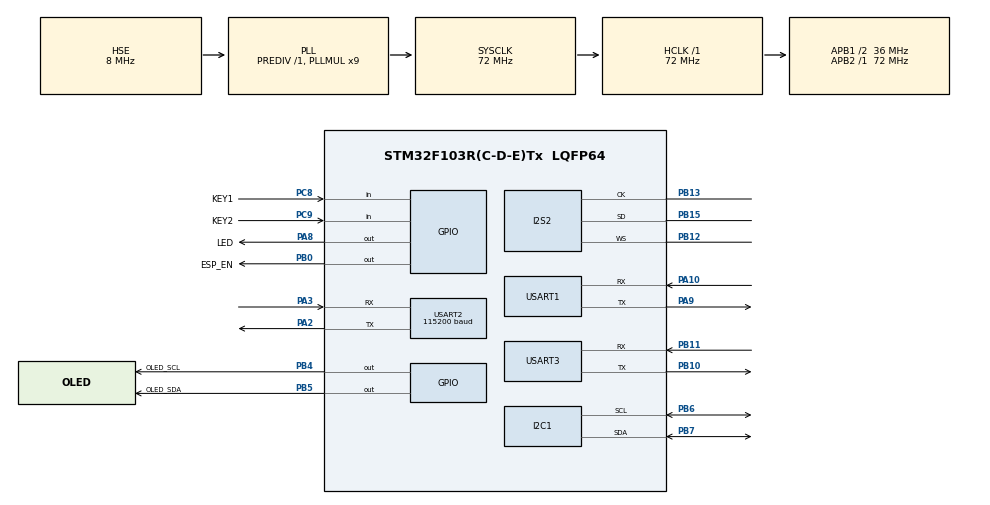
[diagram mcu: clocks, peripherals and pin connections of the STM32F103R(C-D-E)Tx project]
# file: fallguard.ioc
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Dma.Request0=SPI2_TX
Dma.SPI2_TX.0.Direction=DMA_MEMORY_TO_PERIPH
Dma.SPI2_TX.0.Instance=DMA1_Channel5
Dma.SPI2_TX.0.MemDataAlignment=DMA_MDATAALIGN_HALFWORD
Dma.SPI2_TX.0.MemInc=DMA_MINC_ENABLE
Dma.SPI2_TX.0.Mode=DMA_CIRCULAR
Dma.SPI2_TX.0.PeriphDataAlignment=DMA_PDATAALIGN_HALFWORD
Dma.SPI2_TX.0.PeriphInc=DMA_PINC_DISABLE
Dma.SPI2_TX.0.Priority=DMA_PRIORITY_HIGH
I2C1.I2C_Mode=I2C_Fast
I2S2.ErrorAudioFreq=0.08 %
I2S2.Instance=SPI$Index
I2S2.RealAudioFreq=8.007 KHz
I2S2.VirtualMode=I2S_MODE_MASTER
Mcu.Family=STM32F1
Mcu.Name=STM32F103R(C-D-E)Tx
Mcu.Package=LQFP64
NVIC.DMA1_Channel5_IRQn=true\:1\:0\:true\:false\:true\:false\:true\:true
NVIC.PriorityGroup=NVIC_PRIORITYGROUP_4
NVIC.USART1_IRQn=true\:0\:0\:false\:false\:true\:true\:true\:true
NVIC.USART2_IRQn=true\:0\:0\:false\:false\:true\:true\:true\:true
NVIC.USART3_IRQn=true\:0\:0\:false\:false\:true\:true\:true\:true
PA10.Mode=Asynchronous
PA10.Signal=USART1_RX
PA13.Mode=Serial_Wire
PA13.Signal=SYS_JTMS-SWDIO
PA14.Mode=Serial_Wire
PA14.Signal=SYS_JTCK-SWCLK
PA2.Mode=Asynchronous
PA2.Signal=USART2_TX
PA3.Mode=Asynchronous
PA3.Signal=USART2_RX
PA8.GPIO_Label=LED
PA8.PinState=GPIO_PIN_SET
PA8.Signal=GPIO_Output
PA9.Mode=Asynchronous
PA9.Signal=USART1_TX
PB0.GPIO_Label=ESP_EN
PB0.PinState=GPIO_PIN_SET
PB0.Signal=GPIO_Output
PB10.Mode=Asynchronous
PB10.Signal=USART3_TX
PB11.Mode=Asynchronous
PB11.Signal=USART3_RX
PB12.Mode=Half_Duplex_Master_TX
PB12.Signal=I2S2_WS
PB13.Mode=Half_Duplex_Master_TX
PB13.Signal=I2S2_CK
PB15.Mode=Half_Duplex_Master_TX
PB15.Signal=I2S2_SD
PB4.GPIO_Label=OLED_SCL
PB4.GPIO_ModeDefaultOutputPP=GPIO_MODE_OUTPUT_OD
PB4.GPIO_PuPd=GPIO_PULLUP
PB4.GPIO_Speed=GPIO_SPEED_FREQ_HIGH
PB4.PinState=GPIO_PIN_SET
PB4.Signal=GPIO_Output
PB5.GPIO_Label=OLED_SDA
PB5.GPIO_ModeDefaultOutputPP=GPIO_MODE_OUTPUT_OD
PB5.GPIO_PuPd=GPIO_PULLUP
PB5.GPIO_Speed=GPIO_SPEED_FREQ_HIGH
PB5.PinState=GPIO_PIN_SET
PB5.Signal=GPIO_Output
PB6.Mode=I2C
PB6.Signal=I2C1_SCL
PB7.Mode=I2C
PB7.Signal=I2C1_SDA
PC14-OSC32_IN.Mode=LSE-External-Oscillator
PC14-OSC32_IN.Signal=RCC_OSC32_IN
PC15-OSC32_OUT.Mode=LSE-External-Oscillator
PC15-OSC32_OUT.Signal=RCC_OSC32_OUT
PC8.GPIO_Label=KEY1
PC8.GPIO_PuPd=GPIO_PULLUP
PC8.Signal=GPIO_Input
PC9.GPIO_Label=KEY2
PC9.GPIO_PuPd=GPIO_PULLUP
PC9.Signal=GPIO_Input
PD0-OSC_IN.Mode=HSE-External-Oscillator
PD0-OSC_IN.Signal=RCC_OSC_IN
PD1-OSC_OUT.Mode=HSE-External-Oscillator
PD1-OSC_OUT.Signal=RCC_OSC_OUT
ProjectManager.HeapSize=0x200
ProjectManager.StackSize=0x400
ProjectManager.TargetToolchain=CMake
RCC.AHBFreq_Value=72000000
RCC.APB1CLKDivider=RCC_HCLK_DIV2
RCC.APB1Freq_Value=36000000
RCC.APB1TimFreq_Value=72000000
RCC.APB2Freq_Value=72000000
RCC.APB2TimFreq_Value=72000000
RCC.HCLKFreq_Value=72000000
RCC.PLLMUL=RCC_PLL_MUL9
RCC.PLLSourceVirtual=RCC_PLLSOURCE_HSE
RCC.RTCClockSelection=RCC_RTCCLKSOURCE_LSE
RCC.SYSCLKFreq_VALUE=72000000
RCC.SYSCLKSource=RCC_SYSCLKSOURCE_PLLCLK
RCC.USBFreq_Value=72000000
TIM2.AutoReloadPreload=TIM_AUTORELOAD_PRELOAD_ENABLE
TIM2.Prescaler=71
USART1.VirtualMode=VM_ASYNC
USART2.BaudRate=115200
USART2.VirtualMode=VM_ASYNC
USART3.VirtualMode=VM_ASYNC
VP_RTC_VS_RTC_Activate.Mode=RTC_Enabled
VP_RTC_VS_RTC_Calendar.Mode=RTC_Calendar
VP_TIM2_VS_ClockSourceINT.Mode=Internal
board=custom

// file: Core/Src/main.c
/* USER CODE BEGIN Header */
/**
  ******************************************************************************
  * @file           : main.c
  * @brief          : Main program body
  ******************************************************************************
  * @attention
  *
  * Copyright (c) 2026 STMicroelectronics.
  * All rights reserved.
  *
  * This software is licensed under terms that can be found in the LICENSE file
  * in the root directory of this software component.
  * If no LICENSE file comes with this software, it is provided AS-IS.
  *
  ******************************************************************************
  */
/* USER CODE END Header */
#include "main.h"
#include "dma.h"
#include "i2c.h"
#include "i2s.h"
#include "rtc.h"
#include "tim.h"
#include "usart.h"
#include "gpio.h"

/* USER CODE BEGIN Includes */
#include "app_main.h"
#include "debug_config.h"
#include "bsp_gps.h"
#include "bsp_esp.h"
#include <errno.h>
#include <stdio.h>
/* USER CODE END Includes */

/* USER CODE BEGIN PV */
static uint8_t gps_rx_byte;
static volatile uint8_t gps_rx_retry;
static uint32_t gps_rx_retry_tick;
static uint8_t esp_rx_byte;
static volatile uint8_t esp_rx_retry;
static uint32_t esp_rx_retry_tick;

/* USER CODE END PV */

void SystemClock_Config(void);

/* USER CODE BEGIN 0 */
static void gps_receive_start(void)
{
    HAL_StatusTypeDef status = HAL_UART_Receive_IT(&huart2, &gps_rx_byte, 1U);

    gps_rx_retry = (status != HAL_OK) && (huart2.RxState != HAL_UART_STATE_BUSY_RX);
    if (gps_rx_retry != 0U)
        BSP_GPS_RxError(HAL_UART_GetError(&huart2) | 0x80000000UL);
}

static void esp_receive_start(void)
{
    HAL_StatusTypeDef status = HAL_UART_Receive_IT(&huart3, &esp_rx_byte, 1U);

    esp_rx_retry = (status != HAL_OK) && (huart3.RxState != HAL_UART_STATE_BUSY_RX);
    if (esp_rx_retry != 0U)
        BSP_ESP_RxError(HAL_UART_GetError(&huart3) | 0x80000000UL);
}
/* USER CODE END 0 */

int main(void)
{

  /* MCU Configuration--------------------------------------------------------*/

  /* Reset of all peripherals, Initializes the Flash interface and the Systick. */
  HAL_Init();

  /* Configure the system clock */
  SystemClock_Config();

  /* Initialize all configured peripherals */
  MX_GPIO_Init();
  MX_DMA_Init();
  MX_I2C1_Init();
  MX_RTC_Init();
  MX_TIM2_Init();
  MX_USART1_UART_Init();
  MX_USART2_UART_Init();
  MX_USART3_UART_Init();
  MX_I2S2_Init();
  /* USER CODE BEGIN 2 */
  setvbuf(stdout, NULL, _IONBF, 0);

  DEBUG_PRINT(DEBUG_LOG_BOOT, "\r\n[BOOT] fallguard\r\n");
  DEBUG_PRINT(DEBUG_LOG_BOOT, "[BOOT] HCLK=%lu Hz LSE_READY=%lu\r\n",
         (unsigned long)HAL_RCC_GetHCLKFreq(),
         (unsigned long)(__HAL_RCC_GET_FLAG(RCC_FLAG_LSERDY) != RESET));

  if (HAL_TIM_Base_Start(&htim2) != HAL_OK)
  {
    DEBUG_PRINT(DEBUG_LOG_ERRORS, "[TIM] TIM2 start failed\r\n");
    Error_Handler();
  }

  DEBUG_PRINT(DEBUG_LOG_BOOT, "[MPU] PB6=SCL PB7=SDA @0x68; keep STILL (~3s), 100Hz 2g/250dps\r\n");
  app_init();
  gps_receive_start();
  gps_rx_retry_tick = HAL_GetTick();
  esp_receive_start();
  esp_rx_retry_tick = HAL_GetTick();
  DEBUG_PRINT(DEBUG_LOG_BOOT, "[GPS] TX->PA3, USART2 115200 8N1, stale=5000ms\r\n");

  DEBUG_PRINT(DEBUG_LOG_BOOT, "[TIM] TIM2 started; MQTT/RTC pages show network and time\r\n");
  DEBUG_PRINT(DEBUG_LOG_BOOT, "[OLED] PB4=SCL PB5=SDA @0x3C; init pending\r\n");
  DEBUG_PRINT(DEBUG_LOG_BOOT, "[KEY] K1=OLED page; K2=test alarm; debounce=20ms\r\n");
  /* USER CODE END 2 */

  /* Infinite loop */
  while (1)
  {

    /* USER CODE BEGIN 3 */
    if ((gps_rx_retry != 0U) &&
        ((uint32_t)(HAL_GetTick() - gps_rx_retry_tick) >= 5U))
    {
      gps_rx_retry_tick = HAL_GetTick();
      gps_receive_start();
    }
    if ((esp_rx_retry != 0U) &&
        ((uint32_t)(HAL_GetTick() - esp_rx_retry_tick) >= 5U))
    {
      esp_rx_retry_tick = HAL_GetTick();
      esp_receive_start();
    }
    app_run();
  }
  /* USER CODE END 3 */
}

void SystemClock_Config(void)
{
  RCC_OscInitTypeDef RCC_OscInitStruct = {0};
  RCC_ClkInitTypeDef RCC_ClkInitStruct = {0};
  RCC_PeriphCLKInitTypeDef PeriphClkInit = {0};

  /** Initializes the RCC Oscillators according to the specified parameters
  * in the RCC_OscInitTypeDef structure.
  */
  RCC_OscInitStruct.OscillatorType = RCC_OSCILLATORTYPE_HSE|RCC_OSCILLATORTYPE_LSE;
  RCC_OscInitStruct.HSEState = RCC_HSE_ON;
  RCC_OscInitStruct.HSEPredivValue = RCC_HSE_PREDIV_DIV1;
  RCC_OscInitStruct.LSEState = RCC_LSE_ON;
  RCC_OscInitStruct.HSIState = RCC_HSI_ON;
  RCC_OscInitStruct.PLL.PLLState = RCC_PLL_ON;
  RCC_OscInitStruct.PLL.PLLSource = RCC_PLLSOURCE_HSE;
  RCC_OscInitStruct.PLL.PLLMUL = RCC_PLL_MUL9;
  if (HAL_RCC_OscConfig(&RCC_OscInitStruct) != HAL_OK)
  {
    Error_Handler();
  }

  /** Initializes the CPU, AHB and APB buses clocks
  */
  RCC_ClkInitStruct.ClockType = RCC_CLOCKTYPE_HCLK|RCC_CLOCKTYPE_SYSCLK
                              |RCC_CLOCKTYPE_PCLK1|RCC_CLOCKTYPE_PCLK2;
  RCC_ClkInitStruct.SYSCLKSource = RCC_SYSCLKSOURCE_PLLCLK;
  RCC_ClkInitStruct.AHBCLKDivider = RCC_SYSCLK_DIV1;
  RCC_ClkInitStruct.APB1CLKDivider = RCC_HCLK_DIV2;
  RCC_ClkInitStruct.APB2CLKDivider = RCC_HCLK_DIV1;

  if (HAL_RCC_ClockConfig(&RCC_ClkInitStruct, FLASH_LATENCY_2) != HAL_OK)
  {
    Error_Handler();
  }
  PeriphClkInit.PeriphClockSelection = RCC_PERIPHCLK_RTC|RCC_PERIPHCLK_I2S2;
  PeriphClkInit.RTCClockSelection = RCC_RTCCLKSOURCE_LSE;
  PeriphClkInit.I2s2ClockSelection = RCC_I2S2CLKSOURCE_SYSCLK;
  if (HAL_RCCEx_PeriphCLKConfig(&PeriphClkInit) != HAL_OK)
  {
    Error_Handler();
  }
}

/* USER CODE BEGIN 4 */
void HAL_UART_RxCpltCallback(UART_HandleTypeDef *huart)
{
    if (huart == &huart2)
    {
        /* Rearming clears ErrorCode before HAL can finish handling an overrun. */
        if (HAL_UART_GetError(huart) == HAL_UART_ERROR_NONE)
        {
            BSP_GPS_RxByte(gps_rx_byte);
            gps_receive_start();
        }
    }
    else if (huart == &huart3)
    {
        if (HAL_UART_GetError(huart) == HAL_UART_ERROR_NONE)
        {
            BSP_ESP_RxByte(esp_rx_byte);
            esp_receive_start();
        }
    }
}

void HAL_UART_ErrorCallback(UART_HandleTypeDef *huart)
{
    if (huart == &huart2)
    {
        BSP_GPS_RxError(HAL_UART_GetError(huart));
        if (huart->RxState == HAL_UART_STATE_READY)
            gps_receive_start();
    }
    else if (huart == &huart3)
    {
        BSP_ESP_RxError(HAL_UART_GetError(huart));
        if (huart->RxState == HAL_UART_STATE_READY)
            esp_receive_start();
    }
}

int _write(int file, char *ptr, int len)
{
    (void)file;

    if (len == 0)
    {
        return 0;
    }
    if ((len < 0) || (len > UINT16_MAX))
    {
        errno = EINVAL;
        return -1;
    }

    /* Bound logging time so a UART fault cannot stall the polling loop. */
    if (HAL_UART_Transmit(&huart1, (uint8_t *)ptr, (uint16_t)len, 20U) != HAL_OK)
    {
        errno = EIO;
        return -1;
    }
    return len;
}
/* USER CODE END 4 */

void Error_Handler(void)
{
  __disable_irq();
  while (1)
  {
  }
}
